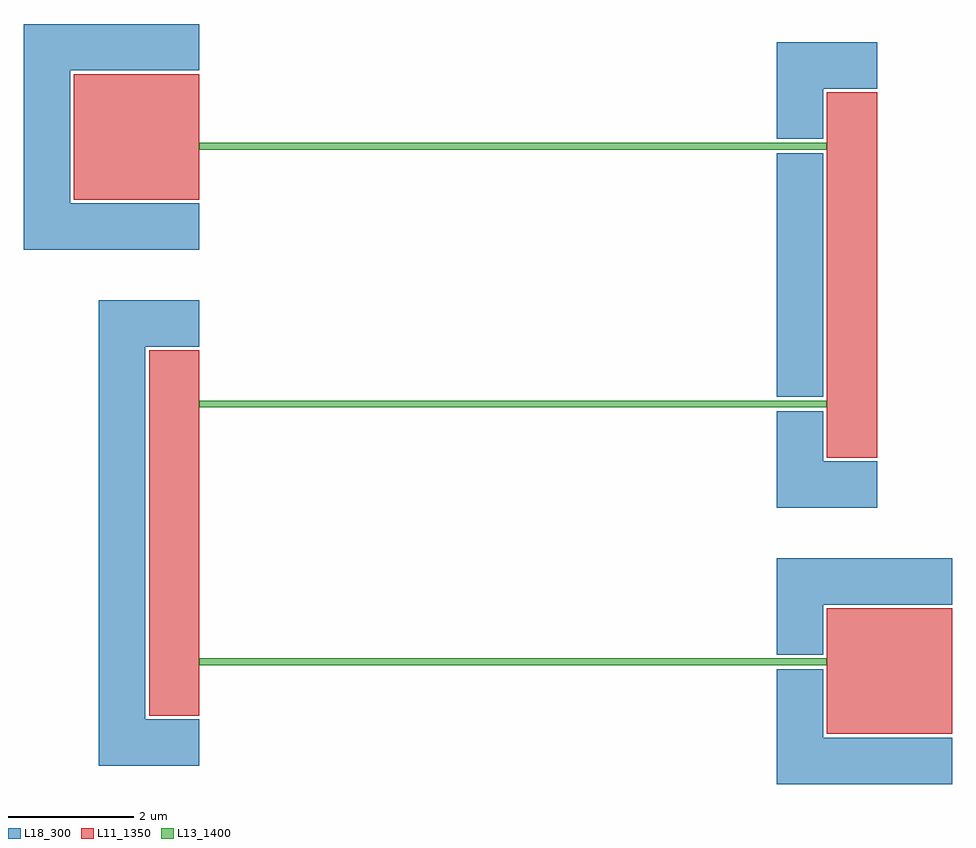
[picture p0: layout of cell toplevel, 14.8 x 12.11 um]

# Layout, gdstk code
import gdstk
lib = gdstk.Library(unit=1e-6, precision=1e-09)
def R(c, l, rs):  # rectangles x0, y0, x1, y1
    for r in rs: c.add(gdstk.rectangle(r[:2], r[2:], *l))
def P(c, l, *ps):  # polygons
    for p in ps: c.add(gdstk.Polygon(p, *l))
L11_1350 = (11, 1350)
L13_1400 = (13, 1400)
L18_300 = (18, 300)

rectangle006 = lib.new_cell('rectangle006')
R(rectangle006, L11_1350, [(0,0,0.8,4.22)])

rectangle007 = lib.new_cell('rectangle007')
R(rectangle007, L11_1350, [(0,-0.8,0.8,0)])

rectangle008 = lib.new_cell('rectangle008')
R(rectangle008, L11_1350, [(0,4.22,0.8,5.02)])

arm_connector = lib.new_cell('Arm connector')
arm_connector.add(gdstk.Reference(rectangle006, (-0.8,-8.22)))
arm_connector.add(gdstk.Reference(rectangle007, (-0.8,-8.22)))
arm_connector.add(gdstk.Reference(rectangle008, (-0.8,-8.22)))

rectangle010 = lib.new_cell('rectangle010')
R(rectangle010, L11_1350, [(0,0,0.8,4.22)])

rectangle011 = lib.new_cell('rectangle011')
R(rectangle011, L11_1350, [(0,-0.8,0.8,0)])

rectangle012 = lib.new_cell('rectangle012')
R(rectangle012, L11_1350, [(0,4.22,0.8,5.02)])

arm_connector009 = lib.new_cell('Arm connector009')
arm_connector009.add(gdstk.Reference(rectangle010, (10,-4.11)))
arm_connector009.add(gdstk.Reference(rectangle011, (10,-4.11)))
arm_connector009.add(gdstk.Reference(rectangle012, (10,-4.11)))

arms = lib.new_cell('Arms')
arms.add(gdstk.Reference(arm_connector, (0,0)))
arms.add(gdstk.Reference(arm_connector009, (0,0)))

rectangle = lib.new_cell('rectangle')
R(rectangle, L13_1400, [(0,0,10,0.11)])

resistive_segment = lib.new_cell('Resistive segment')
resistive_segment.add(gdstk.Reference(rectangle, (0,0)))

rectangle003 = lib.new_cell('rectangle003')
R(rectangle003, L13_1400, [(0,0,10,0.11)])

resistive_segment002 = lib.new_cell('Resistive segment002')
resistive_segment002.add(gdstk.Reference(rectangle003, (0,-4.11)))

rectangle005 = lib.new_cell('rectangle005')
R(rectangle005, L13_1400, [(0,0,10,0.11)])

resistive_segment004 = lib.new_cell('Resistive segment004')
resistive_segment004.add(gdstk.Reference(rectangle005, (0,-8.22)))

resistive_segments = lib.new_cell('Resistive segments')
resistive_segments.add(gdstk.Reference(resistive_segment, (0,0)))
resistive_segments.add(gdstk.Reference(resistive_segment002, (0,0)))
resistive_segments.add(gdstk.Reference(resistive_segment004, (0,0)))

boolean = lib.new_cell('boolean')
P(boolean, L18_300, [(0,-9.08),(-0.86,-9.08),(-0.86,-3.14),(0,-3.14),(0,-2.4),(-1.6,-2.4),(-1.6,-9.82),(0,-9.82)])

boolean013 = lib.new_cell('boolean013')
R(boolean013, L18_300, [(9.2,-3.94,9.94,-0.06)])
P(boolean013, L18_300, [(9.94,0.97),(10.8,0.97),(10.8,1.71),(9.2,1.71),(9.2,0.17),(9.94,0.17)],
  [(10.8,-4.97),(9.94,-4.97),(9.94,-4.17),(9.2,-4.17),(9.2,-5.71),(10.8,-5.71)])

boolean019 = lib.new_cell('boolean019')
P(boolean019, L18_300, [(0,-0.86),(-2.06,-0.86),(-2.06,1.26),(0,1.26),(0,2),(-2.8,2),(-2.8,-1.6),(0,-1.6)],
  [(9.94,-7.25),(12,-7.25),(12,-6.51),(9.2,-6.51),(9.2,-8.05),(9.94,-8.05)],
  [(12,-9.37),(9.94,-9.37),(9.94,-8.28),(9.2,-8.28),(9.2,-10.11),(12,-10.11)])

liftoff_undercut = lib.new_cell('Liftoff undercut')
liftoff_undercut.add(gdstk.Reference(boolean, (0,0)))
liftoff_undercut.add(gdstk.Reference(boolean013, (0,0)))
liftoff_undercut.add(gdstk.Reference(boolean019, (0,0)))

rectangle014 = lib.new_cell('rectangle014')
R(rectangle014, L11_1350, [(-2,0,0,1.2)])

connector = lib.new_cell('Connector')
connector.add(gdstk.Reference(rectangle014, (0,0)))

rectangle015 = lib.new_cell('rectangle015')
R(rectangle015, L11_1350, [(-2,-0.8,0,0)])

top_connector = lib.new_cell('Top connector')
top_connector.add(gdstk.Reference(connector, (0,0)))
top_connector.add(gdstk.Reference(rectangle015, (0,0)))

rectangle017 = lib.new_cell('rectangle017')
R(rectangle017, L11_1350, [(-2,0,0,1.2)])

rectangle018 = lib.new_cell('rectangle018')
R(rectangle018, L11_1350, [(-2,1.2,0,2)])

connector016 = lib.new_cell('Connector016')
connector016.add(gdstk.Reference(rectangle017, (12,-9.31)))
connector016.add(gdstk.Reference(rectangle018, (12,-9.31)))

bot_connector = lib.new_cell('Bot connector')
bot_connector.add(gdstk.Reference(connector016, (0,0)))

toplevel = lib.new_cell('toplevel')
toplevel.add(gdstk.Reference(arms, (0,0)))
toplevel.add(gdstk.Reference(resistive_segments, (0,0)))
toplevel.add(gdstk.Reference(liftoff_undercut, (0,0)))
toplevel.add(gdstk.Reference(top_connector, (0,0)))
toplevel.add(gdstk.Reference(bot_connector, (0,0)))

lib.write_gds('toplevel.gds')
